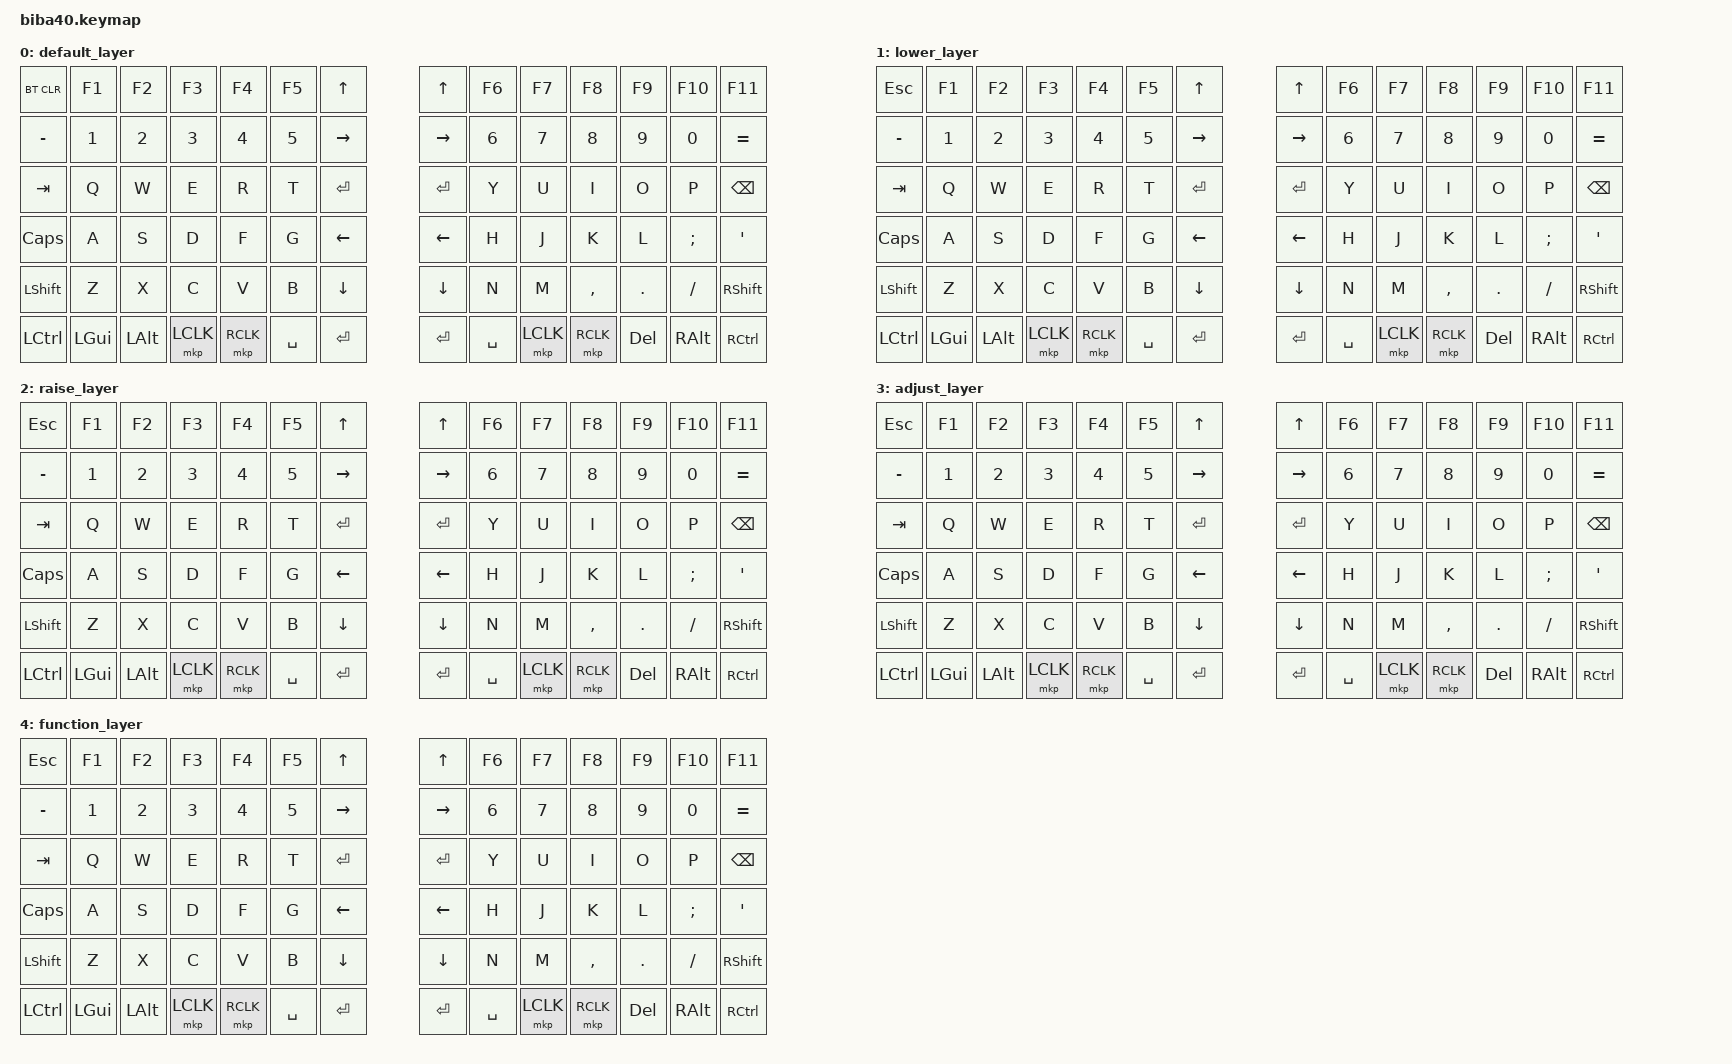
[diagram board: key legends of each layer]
/*
 * Copyright (c) 2020 The ZMK Contributors
 *
 * SPDX-License-Identifier: MIT
 */

#include <behaviors.dtsi>
#include <input/processors.dtsi>
#include <zephyr/dt-bindings/input/input-event-codes.h>
#include <dt-bindings/zmk/bt.h>
#include <dt-bindings/zmk/outputs.h>
#include <dt-bindings/zmk/pointing.h>
#include <dt-bindings/zmk/mouse.h>
#include <behaviors/mouse_keys.dtsi>
#include <dt-bindings/zmk/keys.h>
#include <dt-bindings/zmk/pointing.h>


#define ZMK_POINTING_DEFAULT_MOVE_VAL 1200  // 600
#define ZMK_POINTING_DEFAULT_SCRL_VAL 25   // 10
#define DEFAULT 0
#define LOWER  1
#define RAISE  2
#define ADJUST 3
#define FUNCTION 4

 #define DEFAULT 0
 #define LOWER  1
 #define RAISE  2
 #define ADJUST 3
 #define FUNCTION 4

/* NOTE: At the time of the creation of this keymap, there are no specified codes for 'eisuu' and 'kana' input in ZMK.
However, 'LANG1' and 'LANG2' are fully-functioning candidates for 'kana' and 'eisuu' input respectively.
As such, those are in use within the default layer at this time.*/

&mmv_input_listener { input-processors = <&zip_xy_scaler 2 1>; };

&msc_input_listener { input-processors = <&zip_scroll_scaler 2 1>; };

&msc {
    acceleration-exponent = <1>;      // 0
    time-to-max-speed-ms = <100>;       // 300
    delay-ms = <0>;                   // 0
};

&mmv {
    time-to-max-speed-ms = <500>;
    acceleration-exponent = <1>;
    trigger-period-ms = <16>;
};

&soft_off {
    hold-time-ms = <3000>; // Only turn off it the key is held for 3 seconds or longer.
};

/ {
      behaviors {
          mkp: behavior_mouse_key_press {
            compatible = "zmk,behavior-mouse-key-press";
          };
        };


       keymap {
              compatible = "zmk,keymap";

              default_layer {
                     bindings = <
&bt BT_CLR   &kp F1    &kp F2    &kp F3     &kp F4     &kp F5     &kp UP     &kp UP     &kp F6     &kp F7     &kp F8     &kp F9   &kp F10   &kp F11
&kp MINUS  &kp N1    &kp N2    &kp N3     &kp N4     &kp N5     &kp RIGHT  &kp RIGHT  &kp N6     &kp N7     &kp N8     &kp N9   &kp N0    &kp EQUAL
&kp TAB    &kp Q     &kp W     &kp E      &kp R      &kp T      &kp RET    &kp RET    &kp Y      &kp U      &kp I      &kp O    &kp P     &kp BSPC
&kp CAPS   &kp A     &kp S     &kp D      &kp F      &kp G      &kp LEFT   &kp LEFT   &kp H      &kp J      &kp K      &kp L    &kp SEMI  &kp APOS
&kp LSHFT  &kp Z     &kp X     &kp C      &kp V      &kp B      &kp DOWN   &kp DOWN   &kp N      &kp M      &kp COMMA  &kp DOT  &kp FSLH  &kp RSHFT
&kp LCTRL  &kp LGUI  &kp LALT  &mkp LCLK  &mkp RCLK  &kp SPACE  &kp ENTER  &kp ENTER  &kp SPACE  &mkp LCLK  &mkp RCLK  &kp DEL  &kp RALT  &kp RCTRL
>;
              };
              lower_layer {
                    bindings = <
&kp ESC    &kp F1    &kp F2    &kp F3     &kp F4     &kp F5     &kp UP     &kp UP     &kp F6     &kp F7     &kp F8     &kp F9   &kp F10   &kp F11
&kp MINUS  &kp N1    &kp N2    &kp N3     &kp N4     &kp N5     &kp RIGHT  &kp RIGHT  &kp N6     &kp N7     &kp N8     &kp N9   &kp N0    &kp EQUAL
&kp TAB    &kp Q     &kp W     &kp E      &kp R      &kp T      &kp RET    &kp RET    &kp Y      &kp U      &kp I      &kp O    &kp P     &kp BSPC
&kp CAPS   &kp A     &kp S     &kp D      &kp F      &kp G      &kp LEFT   &kp LEFT   &kp H      &kp J      &kp K      &kp L    &kp SEMI  &kp APOS
&kp LSHFT  &kp Z     &kp X     &kp C      &kp V      &kp B      &kp DOWN   &kp DOWN   &kp N      &kp M      &kp COMMA  &kp DOT  &kp FSLH  &kp RSHFT
&kp LCTRL  &kp LGUI  &kp LALT  &mkp LCLK  &mkp RCLK  &kp SPACE  &kp ENTER  &kp ENTER  &kp SPACE  &mkp LCLK  &mkp RCLK  &kp DEL  &kp RALT  &kp RCTRL
                    >;
              };
              raise_layer {
                     bindings = <
&kp ESC    &kp F1    &kp F2    &kp F3     &kp F4     &kp F5     &kp UP     &kp UP     &kp F6     &kp F7     &kp F8     &kp F9   &kp F10   &kp F11
&kp MINUS  &kp N1    &kp N2    &kp N3     &kp N4     &kp N5     &kp RIGHT  &kp RIGHT  &kp N6     &kp N7     &kp N8     &kp N9   &kp N0    &kp EQUAL
&kp TAB    &kp Q     &kp W     &kp E      &kp R      &kp T      &kp RET    &kp RET    &kp Y      &kp U      &kp I      &kp O    &kp P     &kp BSPC
&kp CAPS   &kp A     &kp S     &kp D      &kp F      &kp G      &kp LEFT   &kp LEFT   &kp H      &kp J      &kp K      &kp L    &kp SEMI  &kp APOS
&kp LSHFT  &kp Z     &kp X     &kp C      &kp V      &kp B      &kp DOWN   &kp DOWN   &kp N      &kp M      &kp COMMA  &kp DOT  &kp FSLH  &kp RSHFT
&kp LCTRL  &kp LGUI  &kp LALT  &mkp LCLK  &mkp RCLK  &kp SPACE  &kp ENTER  &kp ENTER  &kp SPACE  &mkp LCLK  &mkp RCLK  &kp DEL  &kp RALT  &kp RCTRL
                     >;
              };
              adjust_layer {
                     bindings = <
&kp ESC    &kp F1    &kp F2    &kp F3     &kp F4     &kp F5     &kp UP     &kp UP     &kp F6     &kp F7     &kp F8     &kp F9   &kp F10   &kp F11
&kp MINUS  &kp N1    &kp N2    &kp N3     &kp N4     &kp N5     &kp RIGHT  &kp RIGHT  &kp N6     &kp N7     &kp N8     &kp N9   &kp N0    &kp EQUAL
&kp TAB    &kp Q     &kp W     &kp E      &kp R      &kp T      &kp RET    &kp RET    &kp Y      &kp U      &kp I      &kp O    &kp P     &kp BSPC
&kp CAPS   &kp A     &kp S     &kp D      &kp F      &kp G      &kp LEFT   &kp LEFT   &kp H      &kp J      &kp K      &kp L    &kp SEMI  &kp APOS
&kp LSHFT  &kp Z     &kp X     &kp C      &kp V      &kp B      &kp DOWN   &kp DOWN   &kp N      &kp M      &kp COMMA  &kp DOT  &kp FSLH  &kp RSHFT
&kp LCTRL  &kp LGUI  &kp LALT  &mkp LCLK  &mkp RCLK  &kp SPACE  &kp ENTER  &kp ENTER  &kp SPACE  &mkp LCLK  &mkp RCLK  &kp DEL  &kp RALT  &kp RCTRL
                     >;
              };
              function_layer {
                     bindings = <
&kp ESC    &kp F1    &kp F2    &kp F3     &kp F4     &kp F5     &kp UP     &kp UP     &kp F6     &kp F7     &kp F8     &kp F9   &kp F10   &kp F11
&kp MINUS  &kp N1    &kp N2    &kp N3     &kp N4     &kp N5     &kp RIGHT  &kp RIGHT  &kp N6     &kp N7     &kp N8     &kp N9   &kp N0    &kp EQUAL
&kp TAB    &kp Q     &kp W     &kp E      &kp R      &kp T      &kp RET    &kp RET    &kp Y      &kp U      &kp I      &kp O    &kp P     &kp BSPC
&kp CAPS   &kp A     &kp S     &kp D      &kp F      &kp G      &kp LEFT   &kp LEFT   &kp H      &kp J      &kp K      &kp L    &kp SEMI  &kp APOS
&kp LSHFT  &kp Z     &kp X     &kp C      &kp V      &kp B      &kp DOWN   &kp DOWN   &kp N      &kp M      &kp COMMA  &kp DOT  &kp FSLH  &kp RSHFT
&kp LCTRL  &kp LGUI  &kp LALT  &mkp LCLK  &mkp RCLK  &kp SPACE  &kp ENTER  &kp ENTER  &kp SPACE  &mkp LCLK  &mkp RCLK  &kp DEL  &kp RALT  &kp RCTRL
                     >;
              };
       };
};
